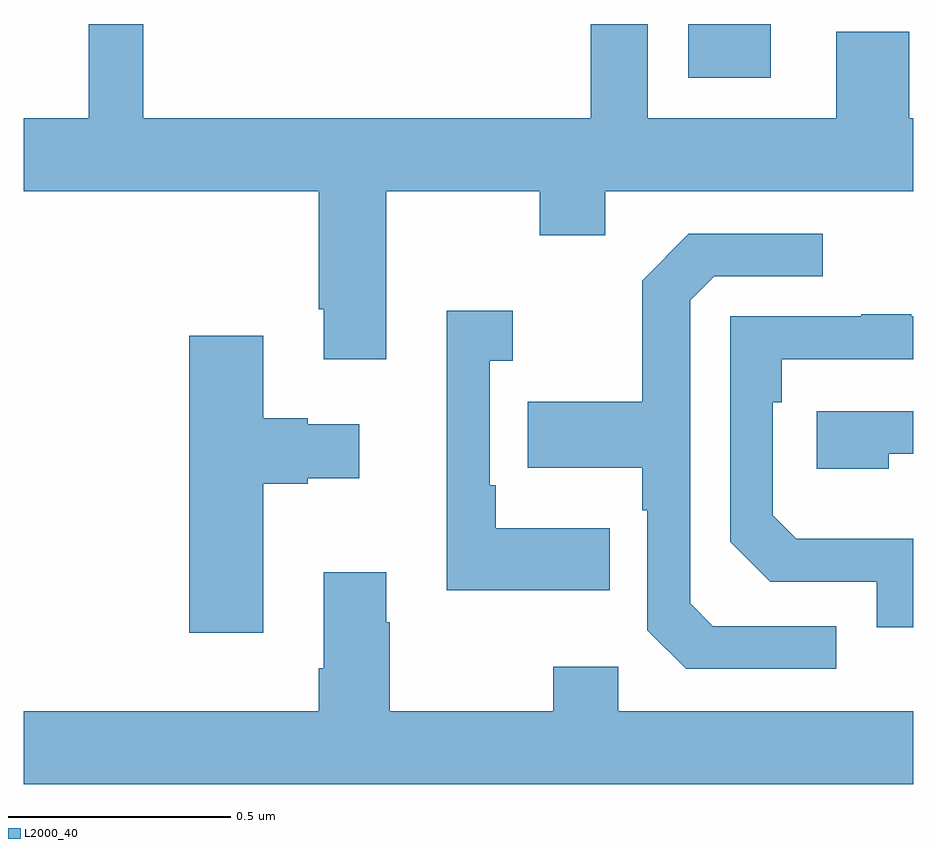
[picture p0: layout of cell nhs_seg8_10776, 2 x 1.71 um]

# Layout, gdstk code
import gdstk
lib = gdstk.Library(unit=1e-6, precision=1e-09)
def R(c, l, rs):  # rectangles x0, y0, x1, y1
    for r in rs: c.add(gdstk.rectangle(r[:2], r[2:], *l))
def P(c, l, *ps):  # polygons
    for p in ps: c.add(gdstk.Polygon(p, *l))
L2000_40 = (2000, 40)

nhs_seg8_10776 = lib.new_cell('nhs_seg8_10776')
R(nhs_seg8_10776, L2000_40, [(255.494,1092.779,255.679,1092.9)])
P(nhs_seg8_10776, L2000_40, [(254.815,1092.524),(255.16,1092.524),(255.16,1092.425),(255.307,1092.425),(255.307,1092.524),(256,1092.524),(256,1092.688),(255.991,1092.688),(255.991,1092.883),(255.827,1092.883),(255.827,1092.688),(255.403,1092.688),(255.403,1092.9),(255.275,1092.9),(255.275,1092.688),(254.269,1092.688),(254.269,1092.9),(254.147,1092.9),(254.147,1092.688),(254,1092.688),(254,1092.524),(254.663,1092.524),(254.663,1092.259),(254.675,1092.259),(254.675,1092.147),(254.815,1092.147)],
  [(255.826,1091.547),(255.549,1091.547),(255.498,1091.598),(255.498,1092.279),(255.552,1092.333),(255.796,1092.333),(255.796,1092.429),(255.495,1092.429),(255.39,1092.323),(255.39,1092.051),(255.133,1092.051),(255.133,1091.903),(255.39,1091.903),(255.39,1091.807),(255.402,1091.807),(255.402,1091.538),(255.489,1091.451),(255.826,1091.451)],
  [(255.317,1091.767),(255.061,1091.767),(255.061,1091.863),(255.048,1091.863),(255.048,1092.143),(255.1,1092.143),(255.1,1092.256),(254.951,1092.256),(254.951,1091.627),(255.317,1091.627)],
  [(256,1091.743),(255.737,1091.743),(255.684,1091.796),(255.684,1092.05),(255.704,1092.05),(255.704,1092.147),(256,1092.147),(256,1092.243),(255.995,1092.243),(255.995,1092.248),(255.883,1092.248),(255.883,1092.243),(255.588,1092.243),(255.588,1091.736),(255.678,1091.646),(255.918,1091.646),(255.918,1091.544),(256,1091.544)],
  [(254.539,1091.867),(254.639,1091.867),(254.639,1091.879),(254.755,1091.879),(254.755,1092.001),(254.639,1092.001),(254.639,1092.014),(254.539,1092.014),(254.539,1092.199),(254.372,1092.199),(254.372,1091.532),(254.539,1091.532)],
  [(255.944,1091.934),(256,1091.934),(256,1092.03),(255.783,1092.03),(255.783,1091.9),(255.944,1091.9)],
  [(256,1091.356),(255.336,1091.356),(255.336,1091.455),(255.19,1091.455),(255.19,1091.356),(254.823,1091.356),(254.823,1091.555),(254.815,1091.555),(254.815,1091.668),(254.675,1091.668),(254.675,1091.452),(254.663,1091.452),(254.663,1091.356),(254,1091.356),(254,1091.192),(256,1091.192)])

lib.write_gds('nhs_seg8_10776.gds')
